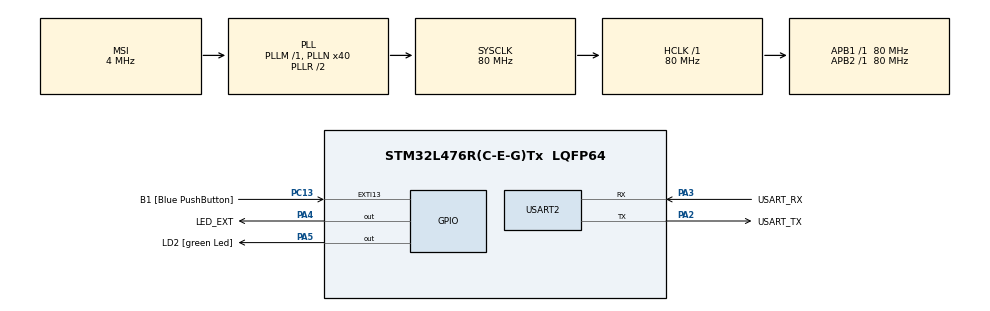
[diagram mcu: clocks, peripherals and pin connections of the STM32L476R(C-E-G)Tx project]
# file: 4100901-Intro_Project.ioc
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Mcu.Family=STM32L4
Mcu.Name=STM32L476R(C-E-G)Tx
Mcu.Package=LQFP64
NVIC.EXTI15_10_IRQn=true\:0\:0\:false\:false\:true\:true\:true\:true
NVIC.PriorityGroup=NVIC_PRIORITYGROUP_4
NVIC.USART2_IRQn=true\:0\:0\:false\:false\:true\:true\:true\:true
PA13\ (JTMS-SWDIO).GPIO_Label=TMS
PA13\ (JTMS-SWDIO).Mode=Serial_Wire
PA13\ (JTMS-SWDIO).Signal=SYS_JTMS-SWDIO
PA14\ (JTCK-SWCLK).GPIO_Label=TCK
PA14\ (JTCK-SWCLK).Mode=Serial_Wire
PA14\ (JTCK-SWCLK).Signal=SYS_JTCK-SWCLK
PA2.GPIO_Label=USART_TX
PA2.GPIO_Mode=GPIO_MODE_AF_PP
PA2.GPIO_PuPd=GPIO_NOPULL
PA2.GPIO_Speed=GPIO_SPEED_FREQ_VERY_HIGH
PA2.Mode=Asynchronous
PA2.Signal=USART2_TX
PA3.GPIO_Label=USART_RX
PA3.GPIO_Mode=GPIO_MODE_AF_PP
PA3.GPIO_PuPd=GPIO_NOPULL
PA3.GPIO_Speed=GPIO_SPEED_FREQ_VERY_HIGH
PA3.Mode=Asynchronous
PA3.Signal=USART2_RX
PA4.GPIO_Label=LED_EXT
PA4.Signal=GPIO_Output
PA5.GPIO_Label=LD2 [green Led]
PA5.GPIO_ModeDefaultOutputPP=GPIO_MODE_OUTPUT_PP
PA5.GPIO_PuPd=GPIO_NOPULL
PA5.GPIO_Speed=GPIO_SPEED_FREQ_LOW
PA5.Signal=GPIO_Output
PB3\ (JTDO-TRACESWO).GPIO_Label=SWO
PB3\ (JTDO-TRACESWO).Signal=SYS_JTDO-SWO
PC13.GPIO_Label=B1 [Blue PushButton]
PC13.GPIO_ModeDefaultEXTI=GPIO_MODE_IT_FALLING
PC13.GPIO_PuPd=GPIO_NOPULL
PC13.Signal=GPXTI13
PC14-OSC32_IN\ (PC14).Mode=LSE-External-Oscillator
PC14-OSC32_IN\ (PC14).Signal=RCC_OSC32_IN
PC15-OSC32_OUT\ (PC15).Mode=LSE-External-Oscillator
PC15-OSC32_OUT\ (PC15).Signal=RCC_OSC32_OUT
PH0-OSC_IN\ (PH0).Signal=RCC_OSC_IN
PH1-OSC_OUT\ (PH1).Signal=RCC_OSC_OUT
ProjectManager.HeapSize=0x200
ProjectManager.StackSize=0x400
ProjectManager.TargetToolchain=CMake
RCC.ADCFreq_Value=16000000
RCC.AHBFreq_Value=80000000
RCC.APB1Freq_Value=80000000
RCC.APB1TimFreq_Value=80000000
RCC.APB2Freq_Value=80000000
RCC.APB2TimFreq_Value=80000000
RCC.CortexFreq_Value=80000000
RCC.HCLKFreq_Value=80000000
RCC.HSE_VALUE=8000000
RCC.HSI_VALUE=16000000
RCC.MSI_VALUE=4000000
RCC.PLLN=40
RCC.PREFETCH_ENABLE=1
RCC.SYSCLKFreq_VALUE=80000000
RCC.SYSCLKSource=RCC_SYSCLKSOURCE_PLLCLK
RCC.USBFreq_Value=16000000
RCC.VCOOutputFreq_Value=160000000
USART2.VirtualMode-Asynchronous=VM_ASYNC
board=NUCLEO-L476RG

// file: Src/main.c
/* USER CODE BEGIN Header */
/**
  ******************************************************************************
  * @file           : main.c
  * @brief          : Main program body
  ******************************************************************************
  * @attention
  *
  * Copyright (c) 2025 STMicroelectronics.
  * All rights reserved.
  *
  * This software is licensed under terms that can be found in the LICENSE file
  * in the root directory of this software component.
  * If no LICENSE file comes with this software, it is provided AS-IS.
  *
  ******************************************************************************
  */
/* USER CODE END Header */
#include "main.h"
#include "usart.h"
#include "gpio.h"

/* USER CODE BEGIN Includes */
#include <stdio.h> // Para usar sprintf
#include <string.h> // Para usar strlen
/* USER CODE END Includes */

/* USER CODE BEGIN PV */
// Variables para UART
uint8_t rx_data; // Buffer para recibir 1 byte por UART
char tx_buffer[50]; // Buffer para transmitir mensajes por UART

// Variables para el botón y LED externo
volatile uint8_t button_flag = 0; // Flag para indicar que el botón fue presionado (volatile porque se modifica en interrupción)
volatile uint32_t led_ext_off_time = 0; // Momento en que se debe apagar el LED externo

/* USER CODE END PV */

void SystemClock_Config(void);

/* USER CODE BEGIN 0 */
// Callback que se ejecuta cuando se completa la recepción de 1 byte por UART2
void HAL_UART_RxCpltCallback(UART_HandleTypeDef *huart)
{
  if (huart->Instance == USART2)
{
//En estas lineas cual quiera que se la letra o palabra que se introduzca en ,
     //la consola va a devolver la letra z, segun la cantidada de letras va a devolver la z
      uint8_t reply = 'z';
      HAL_UART_Transmit(&huart2, &reply, 1, 10); // Enviar el byte recibido de vuelta
      HAL_UART_Receive_IT(&huart2, &rx_data, 1);
  }

/*// Para esta parte del codigo si se coloca la letra  "a" devolvera la letra "Z"
    uint8_t reply;
    // Si recibimos 'a', devolvemos 'z'
    if (rx_data == 'a')
    {
        reply = 'z';
        HAL_UART_Transmit(&huart2, &reply, 1, 10);
    }
    else
    {
        //Si es otro caracter, lo devolvemos igual (eco normal)
        HAL_UART_Transmit(&huart2, &rx_data, 1, 10);
    }
        HAL_UART_Receive_IT(&huart2, &rx_data, 1);
  }
*/

/*
  // Si es minúscula, se conviérte a mayúscula
  if (rx_data >= 'a' && rx_data <= 'z') {
      rx_data -= 32; // Convierte a mayúscula
  }
    // Hacemos eco del caracter recibido
    HAL_UART_Transmit(&huart2, &rx_data, 1, 10); // Enviar el byte recibido de vuelta

    // Volvemos a habilitar la interrupción de recepción UART para el próximo byte
    HAL_UART_Receive_IT(&huart2, &rx_data, 1);
  }
*/

}
/* USER CODE END 0 */

int main(void)
{

  /* MCU Configuration--------------------------------------------------------*/

  /* Reset of all peripherals, Initializes the Flash interface and the Systick. */
  HAL_Init();

  /* Configure the system clock */
  SystemClock_Config();

  /* Initialize all configured peripherals */
  MX_GPIO_Init();
  MX_USART2_UART_Init();
  /* USER CODE BEGIN 2 */
  // Habilitar la recepción UART por interrupción por primera vez
  HAL_UART_Receive_IT(&huart2, &rx_data, 1);

  // Mensaje de bienvenida por UART
  char *welcome_msg = "SISTEMAS DE CONTROLES BASICOS - Listo\r\n";
  HAL_UART_Transmit(&huart2, (uint8_t*)welcome_msg, strlen(welcome_msg), 100);
  /* USER CODE END 2 */

  /* Infinite loop */
  /* USER CODE BEGIN WHILE */
   while (1)
  {
    // ---- Heartbeat LED ----
    static uint32_t last_heartbeat_time = 0;
    if (HAL_GetTick() - last_heartbeat_time >= 200) // Cada 500 ms
    {
      HAL_GPIO_TogglePin(LD2_GPIO_Port, LD2_Pin); // Cambia el estado del LED LD2
      last_heartbeat_time = HAL_GetTick();
    }

    // ---- Procesamiento del Botón ----
    if (button_flag == 1)
    {
      // 1. Encender LED Externo
      HAL_GPIO_WritePin(LED_EXT_GPIO_Port, LED_EXT_Pin, GPIO_PIN_SET); // Enciende LED_EXT

      // 2. Calcular cuándo apagarlo (3 segundos desde ahora)
      led_ext_off_time = HAL_GetTick() + 10000;

      // 3. Enviar mensaje por UART
      sprintf(tx_buffer, "¡PRESIONASTE EL BOTON B1! LED EXTERNO ENCENDIDO .\r\n");
      HAL_UART_Transmit(&huart2, (uint8_t*)tx_buffer, strlen(tx_buffer), 100);

      // 4. Limpiar el flag
      button_flag = 0;
    }

    // ---- Control del Apagado del LED Externo ----
    // Si el tiempo de apagado es distinto de 0 (significa que está programado)
    // y ya hemos alcanzado o superado ese tiempo...
    if (led_ext_off_time != 0 && HAL_GetTick() >= led_ext_off_time)
    {
      // 1. Apagar el LED
      HAL_GPIO_WritePin(LED_EXT_GPIO_Port, LED_EXT_Pin, GPIO_PIN_RESET); // Apaga LED_EXT

      // 2. Enviar mensaje por UART (opcional)
      sprintf(tx_buffer, "LED EXTERNO APAGADO (OFF) (timeout).\r\n");
      HAL_UART_Transmit(&huart2, (uint8_t*)tx_buffer, strlen(tx_buffer), 100);

      // 3. Resetear el tiempo de apagado a 0 (para no volver a apagarlo)
      led_ext_off_time = 0;
    }
    /* USER CODE END WHILE */

  }
}

void SystemClock_Config(void)
{
  RCC_OscInitTypeDef RCC_OscInitStruct = {0};
  RCC_ClkInitTypeDef RCC_ClkInitStruct = {0};

  /** Configure the main internal regulator output voltage
  */
  if (HAL_PWREx_ControlVoltageScaling(PWR_REGULATOR_VOLTAGE_SCALE1) != HAL_OK)
  {
    Error_Handler();
  }

  /** Configure LSE Drive Capability
  */
  HAL_PWR_EnableBkUpAccess();
  __HAL_RCC_LSEDRIVE_CONFIG(RCC_LSEDRIVE_LOW);

  /** Initializes the RCC Oscillators according to the specified parameters
  * in the RCC_OscInitTypeDef structure.
  */
  RCC_OscInitStruct.OscillatorType = RCC_OSCILLATORTYPE_LSE|RCC_OSCILLATORTYPE_MSI;
  RCC_OscInitStruct.LSEState = RCC_LSE_ON;
  RCC_OscInitStruct.MSIState = RCC_MSI_ON;
  RCC_OscInitStruct.MSICalibrationValue = 0;
  RCC_OscInitStruct.MSIClockRange = RCC_MSIRANGE_6;
  RCC_OscInitStruct.PLL.PLLState = RCC_PLL_ON;
  RCC_OscInitStruct.PLL.PLLSource = RCC_PLLSOURCE_MSI;
  RCC_OscInitStruct.PLL.PLLM = 1;
  RCC_OscInitStruct.PLL.PLLN = 40;
  RCC_OscInitStruct.PLL.PLLP = RCC_PLLP_DIV7;
  RCC_OscInitStruct.PLL.PLLQ = RCC_PLLQ_DIV2;
  RCC_OscInitStruct.PLL.PLLR = RCC_PLLR_DIV2;
  if (HAL_RCC_OscConfig(&RCC_OscInitStruct) != HAL_OK)
  {
    Error_Handler();
  }

  /** Initializes the CPU, AHB and APB buses clocks
  */
  RCC_ClkInitStruct.ClockType = RCC_CLOCKTYPE_HCLK|RCC_CLOCKTYPE_SYSCLK
                              |RCC_CLOCKTYPE_PCLK1|RCC_CLOCKTYPE_PCLK2;
  RCC_ClkInitStruct.SYSCLKSource = RCC_SYSCLKSOURCE_PLLCLK;
  RCC_ClkInitStruct.AHBCLKDivider = RCC_SYSCLK_DIV1;
  RCC_ClkInitStruct.APB1CLKDivider = RCC_HCLK_DIV1;
  RCC_ClkInitStruct.APB2CLKDivider = RCC_HCLK_DIV1;

  if (HAL_RCC_ClockConfig(&RCC_ClkInitStruct, FLASH_LATENCY_4) != HAL_OK)
  {
    Error_Handler();
  }

  /** Enable MSI Auto calibration
  */
  HAL_RCCEx_EnableMSIPLLMode();
}

/* USER CODE BEGIN 4 */
// Callback que se ejecuta cuando ocurre una interrupción externa (Botón B1)
void HAL_GPIO_EXTI_Callback(uint16_t GPIO_Pin)
{
  static uint32_t last_press_time = 0; // Guarda el tick de la última pulsación válida
  uint32_t current_time = HAL_GetTick(); // Obtiene el tiempo actual en ms

  if (GPIO_Pin == B1_Pin) // Nos aseguramos que la interrupción es del B1
  {
    // Debounce sencillo: ignorar si han pasado menos de 200ms desde la última vez
    if (current_time - last_press_time > 200)
    {
      button_flag = 1; // Activamos el flag para que el bucle principal lo procese
      last_press_time = current_time; // Actualizamos el tiempo de la última pulsación válida
    }
  }
}
/* USER CODE END 4 */

void Error_Handler(void)
{
  __disable_irq();
  while (1)
  {
  }
}
